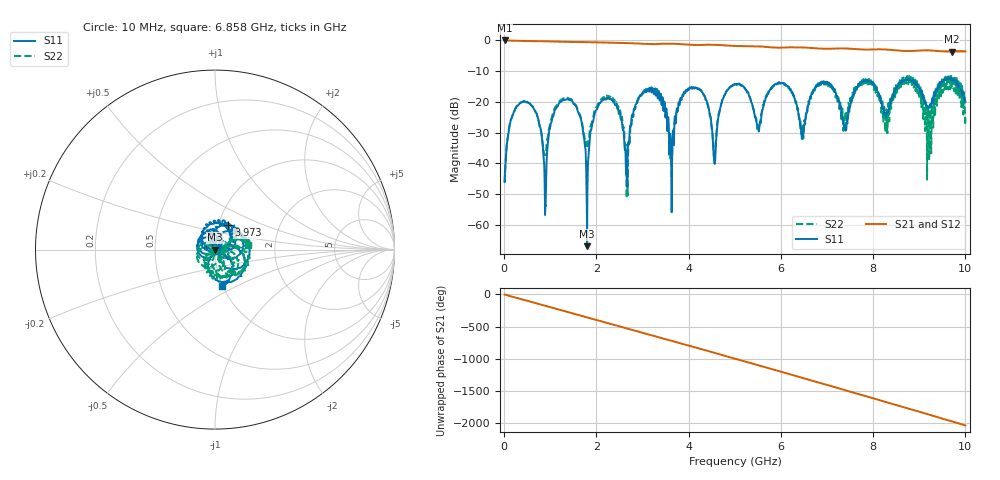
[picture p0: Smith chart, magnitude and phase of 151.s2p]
!Keysight Technologies,E5080B,MY59205177,A.15.75.32
!Date: Friday, February 23, 2024 03:41:11
!Correction: S11(Cdelta 2-Port  )
!S21(Cdelta 2-Port  )
!S12(Cdelta 2-Port  )
!S22(Cdelta 2-Port  )
!S2P File: Measurements: S11, S21, S12, S22:
# Hz S  dB  R 50
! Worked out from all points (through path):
!   10001 points, 10 MHz to 10 GHz, reference 50 ohm
!   highest |S21| = -0.01 dB at 14 MHz (marker M1); lowest = -3.7 dB at 9.701 GHz (marker M2)
!   group delay of S21, straight-line fit = 565 ps
!   lowest |S11| = -67.0 dB at 1.798 GHz (marker M3), VSWR 1.00, Z = 50 + j0.0344 ohm
!   |S11| at or under -10 dB: start of sweep to end of sweep
!   |S22| runs from -51.4 to -11.1 dB; largest |S21 - S12| = 0.0015
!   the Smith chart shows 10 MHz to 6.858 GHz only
!   S11 on the Smith chart (normalised r, x): 10 MHz: 1.01, -0.00; 3.973 GHz: 1.11, +0.31; 6.858 GHz: 0.99, -0.42
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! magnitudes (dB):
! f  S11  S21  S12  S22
! 10 MHz  -46.1  0.0  0.0  -45.9
! 14 MHz  -43.3  0.0  0.0  -45.4
! 374.6 MHz  -20.2  -0.2  -0.2  -20.1
! 888.1 MHz  -56.3  -0.3  -0.3  -37.2
! 1.176 GHz  -20.8  -0.4  -0.4  -20.3
! 1.675 GHz  -26.2  -0.5  -0.5  -25.7
! 1.798 GHz  -67.0  -0.5  -0.5  -33.4
! 2.108 GHz  -19.8  -0.7  -0.7  -19.0
! 2.663 GHz  -47.7  -0.9  -0.9  -43.7
! 2.907 GHz  -19.3  -1.0  -1.0  -18.8
! 3.341 GHz  -17.4  -1.1  -1.1  -17.6
! 3.627 GHz  -47.1  -1.1  -1.1  -41.7
! 3.973 GHz  -16.2  -1.3  -1.3  -16.0
! 4.562 GHz  -40.0  -1.4  -1.4  -38.4
! 5.005 GHz  -14.1  -1.8  -1.8  -14.4
! 6.107 GHz  -14.6  -2.3  -2.3  -14.7
! 6.464 GHz  -31.6  -2.3  -2.3  -27.8
! 6.67 GHz  -17.4  -2.5  -2.5  -17.0
! 6.858 GHz  -13.6  -2.7  -2.7  -14.6
! 8.336 GHz  -22.6  -3.0  -3.0  -20.9
! 9.701 GHz  -12.2  -3.7  -3.7  -13.8
! 10 GHz  -19.9  -3.6  -3.6  -25.2
